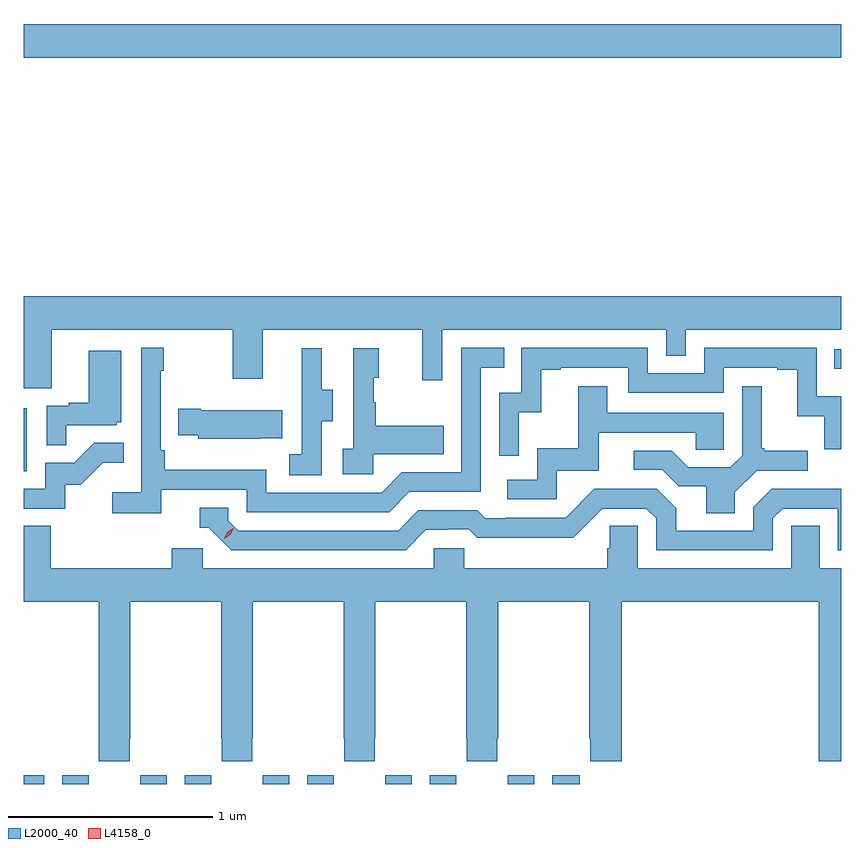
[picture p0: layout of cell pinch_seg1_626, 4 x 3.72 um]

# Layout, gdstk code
import gdstk
lib = gdstk.Library(unit=1e-6, precision=1e-09)
def R(c, l, rs):  # rectangles x0, y0, x1, y1
    for r in rs: c.add(gdstk.rectangle(r[:2], r[2:], *l))
def P(c, l, *ps):  # polygons
    for p in ps: c.add(gdstk.Polygon(p, *l))
L2000_40 = (2000, 40)
L4158_0 = (4158, 0)

pinch_seg1_626 = lib.new_cell('pinch_seg1_626')
R(pinch_seg1_626, L2000_40, [(1104.085,502.889,1104.184,502.933), (1104.272,502.889,1104.402,502.933), (1104.654,502.889,1104.784,502.933), (1104.872,502.889,1105.002,502.933), (1105.254,502.889,1105.384,502.933), (1105.472,502.889,1105.602,502.933), (1105.854,502.889,1105.984,502.933), (1106.072,502.889,1106.202,502.933), (1106.454,502.889,1106.584,502.933), (1106.672,502.889,1106.806,502.933), (1104.085,504.42,1104.1,504.727), (1108.051,504.92,1108.085,505.017), (1104.085,506.444,1108.085,506.608)])
P(pinch_seg1_626, L2000_40, [(1104.085,504.826),(1104.223,504.826),(1104.223,505.112),(1105.108,505.112),(1105.108,504.873),(1105.255,504.873),(1105.255,505.112),(1106.036,505.112),(1106.036,504.864),(1106.133,504.864),(1106.133,505.112),(1107.228,505.112),(1107.228,504.985),(1107.324,504.985),(1107.324,505.112),(1108.085,505.112),(1108.085,505.276),(1104.085,505.276)],
  [(1104.758,504.33),(1105.176,504.33),(1105.176,504.219),(1105.873,504.219),(1105.972,504.318),(1106.322,504.318),(1106.322,504.927),(1106.435,504.927),(1106.435,505.023),(1106.226,505.023),(1106.226,504.414),(1105.935,504.414),(1105.836,504.315),(1105.272,504.315),(1105.272,504.427),(1104.776,504.427),(1104.776,504.523),(1104.756,504.523),(1104.756,504.911),(1104.769,504.911),(1104.769,505.024),(1104.66,505.024),(1104.66,504.316),(1104.519,504.316),(1104.519,504.214),(1104.758,504.214)],
  [(1106.508,504.707),(1106.618,504.707),(1106.618,504.915),(1106.713,504.915),(1106.713,504.927),(1107.042,504.927),(1107.042,504.804),(1107.51,504.804),(1107.51,504.927),(1107.773,504.927),(1107.773,504.915),(1107.869,504.915),(1107.869,504.689),(1108.002,504.689),(1108.002,504.528),(1108.085,504.528),(1108.085,504.787),(1107.966,504.787),(1107.966,505.023),(1107.414,505.023),(1107.414,504.9),(1107.138,504.9),(1107.138,505.023),(1106.52,505.023),(1106.52,504.804),(1106.412,504.804),(1106.412,504.495),(1106.508,504.495)],
  [(1105.542,504.664),(1105.597,504.664),(1105.597,504.819),(1105.543,504.819),(1105.543,505.021),(1105.445,505.021),(1105.445,504.807),(1105.446,504.807),(1105.446,504.503),(1105.383,504.503),(1105.383,504.4),(1105.542,504.4)],
  [(1105.794,504.503),(1106.141,504.503),(1106.141,504.643),(1105.807,504.643),(1105.807,504.758),(1105.797,504.758),(1105.797,504.876),(1105.822,504.876),(1105.822,505.021),(1105.698,505.021),(1105.698,504.53),(1105.647,504.53),(1105.647,504.405),(1105.794,504.405)],
  [(1104.293,504.645),(1104.54,504.645),(1104.54,504.66),(1104.562,504.66),(1104.562,505.009),(1104.404,505.009),(1104.404,504.754),(1104.305,504.754),(1104.305,504.741),(1104.198,504.741),(1104.198,504.547),(1104.293,504.547)],
  [(1107.565,504.316),(1107.672,504.423),(1107.922,504.423),(1107.922,504.52),(1107.709,504.52),(1107.709,504.532),(1107.697,504.532),(1107.697,504.835),(1107.6,504.835),(1107.6,504.495),(1107.543,504.438),(1107.337,504.438),(1107.256,504.519),(1107.069,504.519),(1107.069,504.426),(1107.21,504.426),(1107.29,504.346),(1107.425,504.346),(1107.425,504.214),(1107.565,504.214)],
  [(1106.694,504.423),(1106.899,504.423),(1106.899,504.609),(1107.373,504.609),(1107.373,504.525),(1107.51,504.525),(1107.51,504.705),(1106.941,504.705),(1106.941,504.835),(1106.797,504.835),(1106.797,504.532),(1106.598,504.532),(1106.598,504.378),(1106.451,504.378),(1106.451,504.282),(1106.694,504.282)],
  [(1105.241,504.581),(1105.349,504.581),(1105.349,504.718),(1104.952,504.718),(1104.952,504.726),(1104.841,504.726),(1104.841,504.596),(1104.939,504.596),(1104.939,504.578),(1105.241,504.578)],
  [(1104.288,504.354),(1104.364,504.354),(1104.471,504.461),(1104.575,504.461),(1104.575,504.56),(1104.431,504.56),(1104.333,504.462),(1104.189,504.462),(1104.189,504.333),(1104.085,504.333),(1104.085,504.237),(1104.288,504.237)],
  [(1106.053,504.132),(1106.16,504.132),(1106.16,504.135),(1106.263,504.135),(1106.305,504.093),(1106.538,504.093),(1106.538,504.095),(1106.774,504.095),(1106.916,504.237),(1107.132,504.237),(1107.18,504.189),(1107.18,504.033),(1107.75,504.033),(1107.75,504.189),(1107.798,504.237),(1108.068,504.237),(1108.068,504.033),(1108.085,504.033),(1108.085,504.335),(1107.96,504.335),(1107.96,504.333),(1107.744,504.333),(1107.654,504.243),(1107.654,504.129),(1107.277,504.129),(1107.277,504.239),(1107.183,504.333),(1106.877,504.333),(1106.736,504.192),(1106.443,504.192),(1106.443,504.189),(1106.344,504.189),(1106.305,504.228),(1106.016,504.228),(1105.917,504.129),(1105.134,504.129),(1105.086,504.177),(1105.086,504.24),(1104.947,504.24),(1104.947,504.144),(1104.99,504.144),(1105.101,504.033),(1105.954,504.033)],
  [(1104.603,503.113),(1104.606,503.113),(1104.606,503.78),(1105.051,503.78),(1105.051,503.113),(1105.053,503.113),(1105.053,503.001),(1105.203,503.001),(1105.203,503.113),(1105.206,503.113),(1105.206,503.78),(1105.651,503.78),(1105.651,503.113),(1105.653,503.113),(1105.653,503.001),(1105.803,503.001),(1105.803,503.113),(1105.806,503.113),(1105.806,503.78),(1106.251,503.78),(1106.251,503.113),(1106.253,503.113),(1106.253,503.001),(1106.403,503.001),(1106.403,503.113),(1106.406,503.113),(1106.406,503.78),(1106.851,503.78),(1106.851,503.113),(1106.857,503.113),(1106.857,503.001),(1107.011,503.001),(1107.011,503.78),(1107.974,503.78),(1107.974,503.001),(1108.085,503.001),(1108.085,503.944),(1107.979,503.944),(1107.979,504.152),(1107.84,504.152),(1107.84,503.944),(1107.09,503.944),(1107.09,504.152),(1106.953,504.152),(1106.953,504.042),(1106.939,504.042),(1106.939,503.944),(1106.241,503.944),(1106.241,504.042),(1106.091,504.042),(1106.091,503.944),(1104.96,503.944),(1104.96,504.042),(1104.809,504.042),(1104.809,503.944),(1104.218,503.944),(1104.218,504.152),(1104.085,504.152),(1104.085,503.78),(1104.451,503.78),(1104.451,503.113),(1104.453,503.113),(1104.453,503.001),(1104.603,503.001)])
P(pinch_seg1_626, L4158_0, [(1105.066,504.088),(1105.066,504.089),(1105.081,504.121),(1105.111,504.141),(1105.112,504.141),(1105.112,504.141),(1105.096,504.108),(1105.066,504.088)])

lib.write_gds('pinch_seg1_626.gds')
